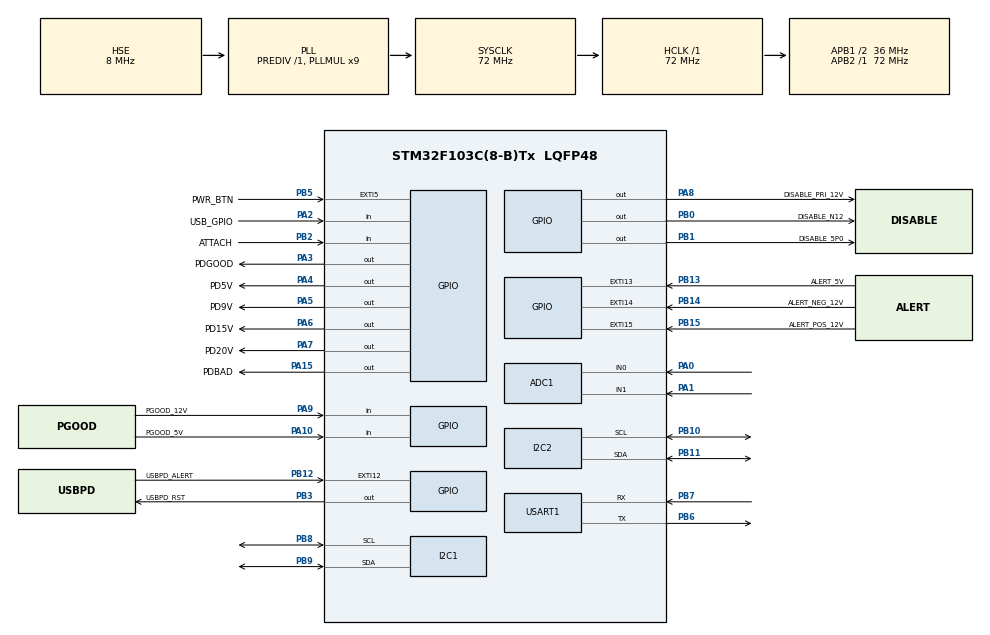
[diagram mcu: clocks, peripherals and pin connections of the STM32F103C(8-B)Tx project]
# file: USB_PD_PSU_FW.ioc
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ADC1.Channel-4\#ChannelRegularConversion=ADC_CHANNEL_0
ADC1.Channel-5\#ChannelRegularConversion=ADC_CHANNEL_1
ADC1.ContinuousConvMode=DISABLE
ADC1.DiscontinuousConvMode=DISABLE
ADC1.EnableInjectedConversion=DISABLE
ADC1.EnableRegularConversion=ENABLE
ADC1.ExternalTrigConv=ADC_SOFTWARE_START
ADC1.InjNumberOfConversion=2
ADC1.NbrOfConversion=2
ADC1.NbrOfConversionFlag=1
ADC1.Rank-4\#ChannelRegularConversion=1
ADC1.Rank-5\#ChannelRegularConversion=2
ADC1.SamplingTime-4\#ChannelRegularConversion=ADC_SAMPLETIME_1CYCLE_5
ADC1.SamplingTime-5\#ChannelRegularConversion=ADC_SAMPLETIME_1CYCLE_5
ADC1.master=1
Dma.ADC1.2.Direction=DMA_PERIPH_TO_MEMORY
Dma.ADC1.2.Instance=DMA1_Channel1
Dma.ADC1.2.MemDataAlignment=DMA_MDATAALIGN_WORD
Dma.ADC1.2.MemInc=DMA_MINC_ENABLE
Dma.ADC1.2.Mode=DMA_NORMAL
Dma.ADC1.2.PeriphDataAlignment=DMA_PDATAALIGN_WORD
Dma.ADC1.2.PeriphInc=DMA_PINC_DISABLE
Dma.ADC1.2.Priority=DMA_PRIORITY_LOW
Dma.Request0=USART1_RX
Dma.Request1=USART1_TX
Dma.Request2=ADC1
Dma.USART1_RX.0.Direction=DMA_PERIPH_TO_MEMORY
Dma.USART1_RX.0.Instance=DMA1_Channel5
Dma.USART1_RX.0.MemDataAlignment=DMA_MDATAALIGN_BYTE
Dma.USART1_RX.0.MemInc=DMA_MINC_ENABLE
Dma.USART1_RX.0.Mode=DMA_NORMAL
Dma.USART1_RX.0.PeriphDataAlignment=DMA_PDATAALIGN_BYTE
Dma.USART1_RX.0.PeriphInc=DMA_PINC_DISABLE
Dma.USART1_RX.0.Priority=DMA_PRIORITY_LOW
Dma.USART1_TX.1.Direction=DMA_MEMORY_TO_PERIPH
Dma.USART1_TX.1.Instance=DMA1_Channel4
Dma.USART1_TX.1.MemDataAlignment=DMA_MDATAALIGN_BYTE
Dma.USART1_TX.1.MemInc=DMA_MINC_ENABLE
Dma.USART1_TX.1.Mode=DMA_NORMAL
Dma.USART1_TX.1.PeriphDataAlignment=DMA_PDATAALIGN_BYTE
Dma.USART1_TX.1.PeriphInc=DMA_PINC_DISABLE
Dma.USART1_TX.1.Priority=DMA_PRIORITY_LOW
Mcu.Family=STM32F1
Mcu.Name=STM32F103C(8-B)Tx
Mcu.Package=LQFP48
NVIC.ADC1_2_IRQn=true\:0\:0\:false\:false\:true\:true\:true\:true
NVIC.DMA1_Channel1_IRQn=true\:0\:0\:false\:false\:true\:false\:true\:true
NVIC.DMA1_Channel4_IRQn=true\:0\:0\:false\:false\:true\:false\:true\:true
NVIC.DMA1_Channel5_IRQn=true\:0\:0\:false\:false\:true\:false\:true\:true
NVIC.EXTI15_10_IRQn=true\:0\:0\:false\:false\:true\:true\:true\:true
NVIC.PriorityGroup=NVIC_PRIORITYGROUP_4
NVIC.TIM1_BRK_IRQn=true\:0\:0\:false\:false\:true\:true\:true\:true
NVIC.TIM1_CC_IRQn=true\:0\:0\:false\:false\:true\:true\:true\:true
NVIC.TIM1_TRG_COM_IRQn=true\:0\:0\:false\:false\:true\:true\:true\:true
NVIC.TIM1_UP_IRQn=true\:0\:0\:false\:false\:true\:true\:true\:true
NVIC.TIM3_IRQn=true\:0\:0\:false\:false\:true\:true\:true\:true
NVIC.USART1_IRQn=true\:0\:0\:false\:false\:true\:true\:true\:true
PA0-WKUP.Signal=ADCx_IN0
PA1.Signal=ADCx_IN1
PA10.GPIO_Label=PGOOD_5V
PA10.GPIO_PuPd=GPIO_PULLUP
PA10.Signal=GPIO_Input
PA13.Mode=Serial_Wire
PA13.Signal=SYS_JTMS-SWDIO
PA14.Mode=Serial_Wire
PA14.Signal=SYS_JTCK-SWCLK
PA15.GPIO_Label=PDBAD
PA15.Signal=GPIO_Output
PA2.GPIO_Label=USB_GPIO
PA2.GPIO_PuPd=GPIO_PULLUP
PA2.Signal=GPIO_Input
PA3.GPIO_Label=PDGOOD
PA3.Signal=GPIO_Output
PA4.GPIO_Label=PD5V
PA4.Signal=GPIO_Output
PA5.GPIO_Label=PD9V
PA5.Signal=GPIO_Output
PA6.GPIO_Label=PD15V
PA6.Signal=GPIO_Output
PA7.GPIO_Label=PD20V
PA7.Signal=GPIO_Output
PA8.GPIO_Label=DISABLE_PRI_12V
PA8.Signal=GPIO_Output
PA9.GPIO_Label=PGOOD_12V
PA9.GPIO_PuPd=GPIO_PULLUP
PA9.Signal=GPIO_Input
PB0.GPIO_Label=DISABLE_N12
PB0.Signal=GPIO_Output
PB1.GPIO_Label=DISABLE_5P0
PB1.Signal=GPIO_Output
PB10.Mode=I2C
PB10.Signal=I2C2_SCL
PB11.Mode=I2C
PB11.Signal=I2C2_SDA
PB12.GPIO_Label=USBPD_ALERT
PB12.GPIO_ModeDefaultEXTI=GPIO_MODE_IT_FALLING
PB12.Signal=GPXTI12
PB13.GPIO_Label=ALERT_5V
PB13.GPIO_ModeDefaultEXTI=GPIO_MODE_IT_FALLING
PB13.Signal=GPXTI13
PB14.GPIO_Label=ALERT_NEG_12V
PB14.GPIO_ModeDefaultEXTI=GPIO_MODE_IT_FALLING
PB14.Signal=GPXTI14
PB15.GPIO_Label=ALERT_POS_12V
PB15.GPIO_ModeDefaultEXTI=GPIO_MODE_IT_FALLING
PB15.Signal=GPXTI15
PB2.GPIO_Label=ATTACH
PB2.Signal=GPIO_Input
PB3.GPIO_Label=USBPD_RST
PB3.Signal=GPIO_Output
PB5.GPIO_Label=PWR_BTN
PB5.GPIO_ModeDefaultEXTI=GPIO_MODE_EVT_FALLING
PB5.GPIO_PuPd=GPIO_PULLDOWN
PB5.Signal=GPXTI5
PB6.Mode=Asynchronous
PB6.Signal=USART1_TX
PB7.Mode=Asynchronous
PB7.Signal=USART1_RX
PB8.Mode=I2C
PB8.Signal=I2C1_SCL
PB9.Mode=I2C
PB9.Signal=I2C1_SDA
PD0-OSC_IN.Mode=HSE-External-Oscillator
PD0-OSC_IN.Signal=RCC_OSC_IN
PD1-OSC_OUT.Mode=HSE-External-Oscillator
PD1-OSC_OUT.Signal=RCC_OSC_OUT
ProjectManager.HeapSize=0x200
ProjectManager.StackSize=0x400
ProjectManager.TargetToolchain=Makefile
RCC.ADCPresc=RCC_ADCPCLK2_DIV6
RCC.AHBFreq_Value=72000000
RCC.APB1CLKDivider=RCC_HCLK_DIV2
RCC.APB1Freq_Value=36000000
RCC.APB1TimFreq_Value=72000000
RCC.APB2Freq_Value=72000000
RCC.APB2TimFreq_Value=72000000
RCC.HCLKFreq_Value=72000000
RCC.PLLMUL=RCC_PLL_MUL9
RCC.PLLSourceVirtual=RCC_PLLSOURCE_HSE
RCC.SYSCLKFreq_VALUE=72000000
RCC.SYSCLKSource=RCC_SYSCLKSOURCE_PLLCLK
RCC.USBFreq_Value=72000000
SH.ADCx_IN0.0=ADC1_IN0,IN0
SH.ADCx_IN1.0=ADC1_IN1,IN1
TIM1.Period=2304
TIM3.AutoReloadPreload=TIM_AUTORELOAD_PRELOAD_ENABLE
TIM3.Period=28800
TIM3.TIM_MasterOutputTrigger=TIM_TRGO_RESET
USART1.VirtualMode=VM_ASYNC
VP_TIM1_VS_ClockSourceINT.Mode=Internal
VP_TIM3_VS_ClockSourceINT.Mode=Internal
board=custom

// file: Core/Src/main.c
/* USER CODE BEGIN Header */
/**
  ******************************************************************************
  * @file           : main.c
  * @brief          : Main program body
  ******************************************************************************
  * @attention
  * Copyright (C) 2025  Repowered Electronics LLC
  *
  * This program is free software: you can redistribute it and/or modify
  * it under the terms of the GNU Lesser General Public License as published by
  * the Free Software Foundation, either version 3 of the License, or
  * (at your option) any later version.
  *
  * This program is distributed in the hope that it will be useful,
  * but WITHOUT ANY WARRANTY; without even the implied warranty of
  * MERCHANTABILITY or FITNESS FOR A PARTICULAR PURPOSE.  See the
  * GNU Lesser General Public License for more details.
  *
  * You should have received a copy of the GNU Lesser General Public License
  * along with this program.  If not, see <https://www.gnu.org/licenses/>.
  ******************************************************************************
  */
/* USER CODE END Header */
#include "main.h"
#include "adc.h"
#include "dma.h"
#include "i2c.h"
#include "tim.h"
#include "usart.h"
#include "gpio.h"

/* USER CODE BEGIN Includes */
#include <stdio.h>
#include <stdlib.h>
#include <string.h>
#include "printf.h"
#ifndef PRINTF
#define PRINTF
#endif
#include "USB_PD_core.h"
#include "ina236.h"
#include "u8g2/u8g2.h"
#include <math.h>
#include "ee.h"
#include "eeConfig.h"
/* USER CODE END Includes */

/* USER CODE BEGIN PD */
#define HICCUP_TIME_MS          1000
#define DEBUG_INTERVAL          10000
#define UART_RX_BUF_SIZE        128
#define UART_TX_BUF_SIZE        1024  // need more since we'll be printing PDO strings potentially
#define ENABLE_12V_TIMEOUT_US   1000000
#define INIT_STARTUP_DLY_MS     50
#define STUSB_INIT_DLY_MS       250
#define DUMB_CHG_IQ_MA          140   // current drawn from VBUS when it is ~5V
#define DUMB_CHG_CURR_LIM_MA    (3000 - DUMB_CHG_IQ_MA)  // max allowed to be drawn from VBUS when it's ~5V (used for Plim calc)
#define OVERLD_LED_WARN_OFF_MS  750
#define OVERLD_LED_WARN_ON_MS   250

#define OLED_UPDATE_PERIOD      1500
#define INA_UPDATE_PERIOD       100

#define CHG_TYPE_DUMB           0
#define CHG_TYPE_PD             1

#define OUTPUT_OFF              0
#define OUTPUT_ON               1

#define EFF_COEF_COUNT          2

#define IBB_IQ                  0.005

enum vbus_enum {
  VBUS_5V,
  VBUS_9V,
  VBUS_15V,
  VBUS_20V
};

enum debug_modes_enum {
  DEBUG_NORMAL = 0,
  DEBUG_DEVELOPER = 1,
  DEBUG_QUIET     = 2
};

enum debug_cmds_enum {
  CMD_NONE,
  CMD_READ_REGS,
  CMD_WRITE_REGS,
  CMD_PRINT_SRC_PDOS,
  CMD_COUNT
};

enum reg_map_enum {
  REG_DEBUG_MODE,
  REG_PLIM,           // float (W)
  REG_PLIM_GUARDBAND, // float (W)
  REG_PLIM_WARN,      // float (W)
  REG_ILIM_5V,        // float (A)
  REG_ILIM_N12V,      // float (A)
  REG_ILIM_12V,       // float (A)
  REG_NEGO_VBUS,      // float (V)
  REG_VBUS_ILIM,      // float (A)
  REG_VOLTS_5V,
  REG_VOLTS_N12V,
  REG_VOLTS_12V,
  REG_VOLTS_VBUS,
  REG_CURR_5V,
  REG_CURR_N12V,
  REG_CURR_12V,
  REG_CURR_VBUS,
  REG_POWER_VBUS,
  REG_BUCK_BST_5VIN_C0,
  REG_BUCK_BST_5VIN_C1,
  REG_BUCK_BST_9VIN_C0,
  REG_BUCK_BST_9VIN_C1,
  REG_BUCK_BST_15VIN_C0,
  REG_BUCK_BST_15VIN_C1,
  REG_BUCK_BST_20VIN_C0,
  REG_BUCK_BST_20VIN_C1,
  REG_5V_CONV_C0,
  REG_5V_CONV_C1,
  REG_IBB_5VIN_C0,
  REG_IBB_5VIN_C1,
  REG_IBB_9VIN_C0,
  REG_IBB_9VIN_C1,
  REG_IBB_15VIN_C0,
  REG_IBB_15VIN_C1,
  REG_IBB_20VIN_C0,
  REG_IBB_20VIN_C1,
  REG_DISP_PRESENT,
  REG_COUNT
};

enum rail_ids_enum {
  RAIL_NONE,
  RAIL_P12V,
  RAIL_N12V,
  RAIL_5V
};

#define UART_STATE_RX_HDDR        0
#define UART_STATE_RX_BODY        1
#define UART_STATE_TX_PACKET      2

#define UART_HDDR_SIZE            4
typedef uint32_t* regmap_t;
#define REG_MAP_DATA_SIZE         (4)
#define REG_MAP_ENTRY_SIZE        (sizeof(regmap_t))       /* size of a single register */

#define SAVE_COEFS_TO_FLASH_MASK  0x000000003FFC0000

#define LOOP_DELAY                25      /* sleep inserted in main loop */
#define OVLD_DUR_BEFORE_HICCUP    200     /* millisecs of time spent in ovld before we should hiccup everything */

/* USER CODE END PD */

/* USER CODE BEGIN PM */
#define ENABLE_PRIMARY_12V() HAL_GPIO_WritePin(DISABLE_PRI_12V_GPIO_Port, DISABLE_PRI_12V_Pin, 0)
#define DISABLE_PRIMARY_12V() HAL_GPIO_WritePin(DISABLE_PRI_12V_GPIO_Port, DISABLE_PRI_12V_Pin, 1)
#define PRI_12V_STATE() (((DISABLE_PRI_12V_GPIO_Port->ODR & DISABLE_PRI_12V_Pin)) ^ DISABLE_PRI_12V_Pin)
#define ENABLE_PDGOOD_LED() HAL_GPIO_WritePin(PDGOOD_GPIO_Port, PDGOOD_Pin, 1)
#define DISABLE_PDGOOD_LED() HAL_GPIO_WritePin(PDGOOD_GPIO_Port, PDGOOD_Pin, 0)
#define ENABLE_OVRLD_LED() HAL_GPIO_WritePin(PDBAD_GPIO_Port, PDBAD_Pin, 1)
#define DISABLE_OVRLD_LED() HAL_GPIO_WritePin(PDBAD_GPIO_Port, PDBAD_Pin, 0)
#define OVRLD_LED_STATE() ((PDBAD_GPIO_Port->ODR & PDBAD_Pin))
#define DISABLE_5PO_SUPPLY() HAL_GPIO_WritePin(DISABLE_5P0_GPIO_Port, DISABLE_5P0_Pin, 1)
#define ENABLE_5P0_SUPPLY() HAL_GPIO_WritePin(DISABLE_5P0_GPIO_Port, DISABLE_5P0_Pin, 0)
#define ENABLE_N12_SUPPLY() HAL_GPIO_WritePin(DISABLE_N12_GPIO_Port, DISABLE_N12_Pin, 0)
#define DISABLE_N12_SUPPLY() HAL_GPIO_WritePin(DISABLE_N12_GPIO_Port, DISABLE_N12_Pin, 1)
#define WITHIN_RANGE(x, target, range)  (x >= (target - range) && x < (target + range))
/* USER CODE END PM */

/* USER CODE BEGIN PV */
INA236_t ina_5V;
INA236_t ina_pos_12V;
INA236_t ina_neg_12V;
float volts_p12v = 12.0;
float volts_5v = 5.0;
volatile float volts_n12v = 0.0;
float amps_out_p12v = 0.0;
float amps_out_5v = 0.0;
float amps_in_n12v = 0.0;
float amps_out_n12v = 0.0;
float pwr_out_p12V = 0.0;
float pwr_in_n12V = 0.0;
float pwr_out_5V = 0.0;
float pwr_out_n12V = 0.0;
float tot_idraw_p12v = 0.0;
float ILIM_12V_dyn = 0.0;
float tot_pwr_out = 0.0;

I2C_HandleTypeDef *hi2c[I2CBUS_MAX];
unsigned int Address;
unsigned int AddressSize = I2C_MEMADD_SIZE_8BIT;
USB_PD_I2C_PORT STUSB45DeviceConf[USBPORT_MAX];
uint32_t timer_cnt = 0;
int Flag_count = 0;
int PB_press=0;
int Time_elapse=1;
float Plim = 0.0;              // Power limit from find max pdo in WATTS not mW
float Plim_guardband = 0.100;  // MARGIN FOR TRIPPING OVERDRAW IN WATTS not mW
float Plim_warn = 0.250;       // Margin for triggering warning of impending overdraw in WATTS not mW
uint32_t overld_led_ts = 0;
int Hiccup_5v_flag = 0;       // Setting flag for 5v rail
int Hiccup_n12v_flag = 0;     // Setting flag for n12v rail
int Hiccup_p12v_flag = 0;     // Setting flag for p12v rail
int ina_alerts_enabled = 0;   // will be used to gate servicing of alert pin interrupts
uint32_t hiccup_5v_ts = 0;
uint32_t hiccup_p12v_ts = 0;
uint32_t hiccup_n12v_ts = 0;
int ovld_count = 0;           // how many main loop iterations have we been in overload for
float ILIM_5V = 3.0;          // max rail current for 5V rail in Amperes
float ILIM_N12V = 4.0;        // max rail current for -12V rail in Amperes
float ILIM_12V = 8.0;         // max rail current for 12V *converter* in Amperes
uint32_t debug_stamp = 0;
uint32_t update_oled_stamp = 0;
uint32_t ina_update_stamp = 0;

float nego_vbus = 0.0;    // only used in developer mode and only if non-zero
float vbus_ilim = 0;    // again, only used in developer mode and only if non-zero

regmap_t regmap[REG_COUNT];
bool writeable[REG_COUNT];
uint64_t reg_change_flags = 0;
int rx_size = 0;
uint8_t uart_state = UART_STATE_RX_HDDR;
uint8_t rx_buf[UART_RX_BUF_SIZE];
uint8_t tx_buf[UART_TX_BUF_SIZE];
bool process_uart_buf = false;
uint32_t debug_mode = DEBUG_NORMAL;
uint8_t print_src_pdos_cmd[] = "PRINT_SRC_PDOS";
float req_voltage = 5.0;
float req_current = 1.5;
int req_number = 0;

uint8_t USB_PD_Interupt_Flag[USBPORT_MAX] ;
uint8_t USB_PD_Interupt_PostponedFlag[USBPORT_MAX] ;
uint8_t push_button_Action_Flag[USBPORT_MAX];
uint8_t Timer_Action_Flag[USBPORT_MAX];
uint8_t connection_flag[USBPORT_MAX]={1};
uint8_t HR_rcv_flag[USBPORT_MAX] = {0};
uint32_t VBUS_Current_limitation[USBPORT_MAX] = {5},Previous_VBUS_Current_limitation[USBPORT_MAX] ;

/* PDO Variables */
extern USB_PD_StatusTypeDef PD_status[USBPORT_MAX] ;
extern USB_PD_SNK_PDO_TypeDef PDO_SNK[USBPORT_MAX][3];
extern USB_PD_SRC_PDOTypeDef PDO_FROM_SRC[USBPORT_MAX][7];
extern STUSB_GEN1S_RDO_REG_STATUS_RegTypeDef Nego_RDO[USBPORT_MAX];
extern uint8_t PDO_FROM_SRC_Valid[USBPORT_MAX];
extern uint8_t PDO_FROM_SRC_Num_Sel[USBPORT_MAX];
extern uint8_t PDO_FROM_SRC_Num[USBPORT_MAX];
extern uint8_t Policy_Engine_State[USBPORT_MAX];
extern uint8_t Go_disable_once[USBPORT_MAX];
extern uint8_t Final_Nego_done[USBPORT_MAX] ;
extern uint8_t Core_Process_suspended ;

/* OLED THINGS */
u8g2_t oled; // struct to contain data for one display
uint32_t disp_present = 1; // default to being present

/* ADC things */
volatile float vbus_meas = 0.0;
float amps_in_vbus = 0.0;
float pwr_vbus = 0;
uint32_t adc_samples[2];
volatile int adc_sample_count = 0;
uint32_t adc_sample_sums[2];
volatile bool adc_conv_cplt = false;
volatile uint32_t micros_count = 0;
volatile uint32_t micros_count_by_32 = 0;
volatile uint8_t chg_type   = CHG_TYPE_DUMB;
volatile uint8_t output_state = OUTPUT_OFF;

/* efficiency things */
int vbus_range = VBUS_5V;                                                       /* default to 5V, will change ASAP */
float eff_coefs_buck_boost_5vin[EFF_COEF_COUNT] = {0.712, 1.057}; // {649250, 1.05682};
float eff_coefs_buck_boost_9vin[EFF_COEF_COUNT] = {0.655, 1.038}; //{0.62943, 1.03610};
float eff_coefs_buck_boost_15vin[EFF_COEF_COUNT] = {0.982, 1.035}; //{0.6272, 1.03408};
float eff_coefs_buck_boost_20vin[EFF_COEF_COUNT] = {0.671, 1.047}; //{0.7675, 1.05402};
float eff_coefs_5v_conv[EFF_COEF_COUNT] = {0.0, 1.0}; // {0.0, 1.0};
float eff_coefs_ibb_5vin[EFF_COEF_COUNT] = {-0.025, 0.883}; // {0.0, 1.0};
float eff_coefs_ibb_9vin[EFF_COEF_COUNT] = {-0.157, 0.887}; // {0.0, 1.0};
float eff_coefs_ibb_15vin[EFF_COEF_COUNT] = {-0.270, 0.886}; // {0.0, 1.0};
float eff_coefs_ibb_20vin[EFF_COEF_COUNT] = {-0.369, 0.880}; // {0.0, 1.0};

/* USER CODE END PV */

void SystemClock_Config(void);
/* USER CODE BEGIN PFP */

void _putchar(char character);
extern void nvm_flash(uint8_t Usb_Port);
uint8_t u8x8_byte_hw_i2c(u8x8_t *u8x8, uint8_t msg, uint8_t arg_int, void *arg_ptr);
uint8_t gpio_and_delay_callback(u8x8_t *u8x8, uint8_t msg, uint8_t arg_int, void *arg_ptr);
void disable_ina_ints();
void enable_ina_ints();
void restart_UART_rx();
bool char_in_buffer(uint8_t* buffer, char c, int size);
void strstrip(char* str, char* loc);
void init_regmap(void);
void read_eff_coefs_from_flash(void);
void save_eff_coefs_to_flash(void);
void process_dev_packet();
void check_on_pdo_voltage(int usb_port);
void update_vbus_leds(float vbus);
void delay_us(uint32_t delay);
void set_output_state(uint8_t on_or_off);
uint32_t micros();
float compute_polynom(float* coefs, int coef_count, float x);
void enter_sleep_mode(void);
void hiccup_rail(int rail_id);

/* USER CODE END PFP */

int main(void)
{

  /* USER CODE BEGIN 1 */
  int usb_port_id = 0;
  /* USER CODE END 1 */

  /* MCU Configuration--------------------------------------------------------*/

  /* Reset of all peripherals, Initializes the Flash interface and the Systick. */
  HAL_Init();

  /* Configure the system clock */
  SystemClock_Config();

  /* Initialize all configured peripherals */
  MX_GPIO_Init();
  MX_DMA_Init();
  MX_I2C1_Init();
  MX_I2C2_Init();
  MX_USART1_UART_Init();
  MX_ADC1_Init();
  MX_TIM3_Init();
  MX_TIM1_Init();
  /* USER CODE BEGIN 2 */

  /* Start microsecond timer */
  HAL_TIM_Base_Start_IT(&htim1);

  /* ENSURE EXTERNAL SUPPLIES START IN OFF STATE */
  output_state = OUTPUT_OFF;
  set_output_state(output_state);

  DISABLE_OVRLD_LED();
  DISABLE_PDGOOD_LED();
  disable_ina_ints(); // start by not acting on interrupts from the INAs

  HAL_Delay(INIT_STARTUP_DLY_MS);

  /* SETUP USB PD STUFF */
  hi2c[0] = &hi2c1;
  STUSB45DeviceConf[usb_port_id].I2cBus = usb_port_id;
  STUSB45DeviceConf[usb_port_id].I2cDeviceID_7bit = 0x28;
  STUSB45DeviceConf[usb_port_id].Alert_GPIO_Bank = (uint8_t)((int)USBPD_ALERT_GPIO_Port & 0xFF);
  STUSB45DeviceConf[usb_port_id].Alert_GPIO_Pin = USBPD_ALERT_Pin;
  AddressSize = I2C_MEMADD_SIZE_8BIT;
  USB_PD_Interupt_PostponedFlag[0] = 0; /* this flag is 1 if I2C is busy when Alert signal raise */
  USB_PD_Interupt_Flag[usb_port_id] = 1;
  Final_Nego_done[usb_port_id] = 0;
  Go_disable_once[usb_port_id] = 0;

  memset((uint32_t *)PDO_FROM_SRC[usb_port_id], 0, 7*sizeof(uint32_t*));
  memset((uint32_t *)PDO_SNK[usb_port_id], 0, 3*sizeof(uint32_t*));

  usb_pd_init(usb_port_id);   // after this USBPD alert line must be high

  HAL_Delay(100); /* delay needed for correct assertion of ATTACH */

  /* ASSESS: USB-PD CHARGER OR DUMB-CHARGER */
  if(!HAL_GPIO_ReadPin(ATTACH_GPIO_Port, ATTACH_Pin)){
    // a CC line is attached, negotiate PD
    chg_type = CHG_TYPE_PD;
    Send_Soft_reset_Message(usb_port_id); //

    HAL_Delay(STUSB_INIT_DLY_MS); // allow STUSB4500 to Initialize

    Print_PDO_FROM_SRC(usb_port_id);

    int Plim_mW = Find_Max_SRC_PDO(usb_port_id); // Returns negotiated power level in mW
    printf("the power limit is %dmW \r\n", Plim_mW);
    Plim = Plim_mW / 1000.0;

    Send_Soft_reset_Message(usb_port_id); //

    HAL_Delay(500); // give time for negotiation to occur and rail to stabilize

    Read_RDO(usb_port_id);

    Print_RDO(usb_port_id);

    // we can't move this elsewhere because we need to give time for the new
    // negotiated voltage to come up and stabilize.
    nego_vbus = (float)PDO_FROM_SRC[usb_port_id][Nego_RDO[usb_port_id].b.Object_Pos - 1].fix.Voltage/20.0;
    vbus_ilim = (float)PDO_FROM_SRC[usb_port_id][Nego_RDO[usb_port_id].b.Object_Pos - 1].fix.Max_Operating_Current/100.0;
    /* vbus LEDs get updated in the main loop if power btn is asserted */

    connection_flag[usb_port_id] = 1;
    Previous_VBUS_Current_limitation[usb_port_id] = VBUS_Current_limitation[usb_port_id];
  }else{
    // Dumb charger
    printf("Dumb charger detected...\r\n");
    chg_type = CHG_TYPE_DUMB;
    Plim = 5.0 * DUMB_CHG_CURR_LIM_MA;
    /* vbus LEDs get updated in the main loop if power btn is asserted */
  }

  /**** BEGIN SETUP INA236's ****/
  ina_5V.hi2c = &hi2c1;

  ina236_general_call_reset(&ina_5V); // will reset all INA236's on the bus
  HAL_Delay(30);

  // Initialzing 5v ina236 struct
  ina_5V.addr = 0x41;
  ina_5V.shunt = 0.01;
  ina_5V.int_pin = ALERT_5V_Pin;
  ina236_init(&ina_5V);

  // Initialzing p12v ina236 struct
  ina_pos_12V.hi2c = &hi2c1;
  ina_pos_12V.addr = 0x40;
  ina_pos_12V.shunt = 0.01;
  ina_pos_12V.int_pin = ALERT_POS_12V_Pin;
  ina236_init(&ina_pos_12V);

  // Initialzing n12v ina236 struct
  ina_neg_12V.hi2c = &hi2c1;
  ina_neg_12V.addr = 0x43;
  ina_neg_12V.shunt = 0.01;
  ina_neg_12V.int_pin = ALERT_NEG_12V_Pin;
  ina236_init(&ina_neg_12V);

  // Setting full scale range
  ina236_set_shunt_range(&ina_pos_12V, 0);
  ina236_set_shunt_range(&ina_5V, 0);
  ina236_set_shunt_range(&ina_neg_12V, 0);
  HAL_Delay(5);

  // Setting shunt cal register for each rail
  ina236_set_shuntcal(&ina_pos_12V);
  ina236_set_shuntcal(&ina_5V);
  ina236_set_shuntcal(&ina_neg_12V);
  HAL_Delay(5);

  // Setting current limits
  ina236_set_current_limit(&ina_5V, ILIM_5V);                                 // Setting constant current limit for 5V rail based on capability of converter
  ina236_set_current_limit(&ina_neg_12V, ILIM_N12V);                          // Setting constant current limit for n12V rail based on capability of converter
  ina236_set_current_limit(&ina_pos_12V, ILIM_12V);                           // Setting initial current limit for p12V rail assuming no draw from derivative rails
  HAL_Delay(5);

  // Enabling SOL Alert
  ina236_set_alertSOL(&ina_pos_12V);
  ina236_set_alertSOL(&ina_5V);
  ina236_set_alertSOL(&ina_neg_12V);
  HAL_Delay(5);

  enable_ina_ints();
  /**** END SETUP INA236's ****/

  /**** BEGIN SETUP OLED *****/
  u8g2_Setup_ssd1306_i2c_128x32_univision_f(&oled, U8G2_R2, u8x8_byte_hw_i2c, gpio_and_delay_callback);
  u8g2_InitDisplay(&oled); // send init sequence to the display, display is in sleep mode after this,
  u8g2_SetPowerSave(&oled, 0); // wake up display
  u8g2_ClearDisplay(&oled);
  u8g2_SetFont(&oled, u8g2_font_6x13_tf);
  u8g2_SetFontDirection(&oled, 1);
  /**** END SETUP OLED *****/

  HAL_UART_Receive_DMA(&huart1, rx_buf, UART_HDDR_SIZE);

  HAL_ADC_Stop(&hadc1); // ensure ADC is STOPPED
  HAL_ADCEx_Calibration_Start(&hadc1);
  HAL_Delay(25);

  HAL_ADC_Start_DMA(&hadc1, adc_samples, 2); //Trigger ADC DMA once, future triggers will be from the timer
  HAL_Delay(1);
  HAL_TIM_Base_Start_IT(&htim3); // start timer for actually triggering ADC conversions (2.5kHz)

  // ee_init();
  // read_eff_coefs_from_flash();
  init_regmap();

  /* USER CODE END 2 */

  /* Infinite loop */
  while (1)
  {

    /* USER CODE BEGIN 3 */

    /* ----- Check on power switch ----- */
    int pwr_btn_state = HAL_GPIO_ReadPin(PWR_BTN_GPIO_Port, PWR_BTN_Pin);
    if (pwr_btn_state == 0 && output_state == OUTPUT_OFF) {
      /* transition to ON STATE */
      // ENABLE_PDGOOD_LED();
      output_state = OUTPUT_ON;
      set_output_state(output_state);
      u8g2_SetPowerSave(&oled, 0); // wake up display
      update_vbus_leds(vbus_meas);
    } else if (pwr_btn_state == 1 && output_state == OUTPUT_ON) {
      /* transition to OFF state*/
      output_state = OUTPUT_OFF;
      set_output_state(output_state);
      u8g2_SetPowerSave(&oled, 1); // shut down OLED display
      DISABLE_PDGOOD_LED();
      update_vbus_leds(0.0);
      /* go into sleep mode, will be woken from sleep on falling edge of PWR_BTN signal */
      enter_sleep_mode();
    }

    if (output_state == OUTPUT_OFF) {
      HAL_Delay(10);
      continue; /* skip over the rest of the main loop */
    }

    /* UPDATE INA236's -------------------------------------------------------*/
    if (HAL_GetTick() - ina_update_stamp > INA_UPDATE_PERIOD) {
      ina_update_stamp = HAL_GetTick();

      // Reading bus Voltage from INA236
      volts_p12v    = ina236_get_voltage(&ina_pos_12V);
      volts_5v      = ina236_get_voltage(&ina_5V);
      /* volts_n12v = -12V rail measurement: handled by TIM period callback */

      // Reading current from INA236
      amps_out_p12v = ina236_get_current(&ina_pos_12V);
      amps_out_5v   = ina236_get_current(&ina_5V);
      amps_in_n12v  = ina236_get_current(&ina_neg_12V);

      // Reading power from INA236
      pwr_out_p12V = ina236_get_power(&ina_pos_12V);                 // Returns +12V bus power in mW
      pwr_in_n12V = ina236_get_power(&ina_neg_12V);                  // Returns -12V bus power in mW
      pwr_out_5V = ina236_get_power(&ina_5V);                        // Returns +5V bus power in mW

      /* reflect 5V output power back to input */
      float pwr_in_5v = compute_polynom(eff_coefs_5v_conv, EFF_COEF_COUNT, pwr_out_5V);

      float* buck_boost_coefs;
      float* ibb_coefs;
      switch (vbus_range){
        default:
        case VBUS_5V:
          buck_boost_coefs = eff_coefs_buck_boost_5vin;
          ibb_coefs = eff_coefs_ibb_5vin;
          break;
        case VBUS_9V:
          buck_boost_coefs = eff_coefs_buck_boost_9vin;
          ibb_coefs = eff_coefs_ibb_9vin;
          break;
        case VBUS_15V:
          buck_boost_coefs = eff_coefs_buck_boost_15vin;
          ibb_coefs = eff_coefs_ibb_15vin;
          break;
        case VBUS_20V:
          buck_boost_coefs = eff_coefs_buck_boost_20vin;
          ibb_coefs = eff_coefs_ibb_20vin;
          break;
      };

      /* estimate output power of -12V IBB */
      if (pwr_in_n12V > vbus_meas * IBB_IQ) {                         // if pwr in is greater than approx quiescent power
        pwr_out_n12V = compute_polynom(ibb_coefs, EFF_COEF_COUNT, pwr_in_n12V);
      } else {
        pwr_out_n12V = 0.0;
      }
      amps_out_n12v = pwr_out_n12V / volts_n12v;                       // this is what should be reported to the user

      /* reflect 12V power out back to VBUS (source) */
      float pwr_p12v_total = (pwr_in_5v + pwr_out_p12V);               // total power drawn out of the 12V buck-boost
      pwr_vbus = compute_polynom(buck_boost_coefs, EFF_COEF_COUNT, pwr_p12v_total) + pwr_in_n12V;
      amps_in_vbus = pwr_vbus / vbus_meas;

      float amps_5v_in = pwr_in_5v/volts_5v;
      tot_idraw_p12v = amps_5v_in + amps_out_p12v;                     // Total draw on the +12V rail
      ILIM_12V_dyn = (ILIM_12V - amps_5v_in);                          // Updating p12v current limit based on 5v and n12v rail draw

      if (debug_mode == DEBUG_DEVELOPER) {
        ILIM_12V_dyn = 12.0; // override the limit for testing - make this unreasonably large
      }
      ina236_set_current_limit(&ina_pos_12V, ILIM_12V_dyn);                       // Setting INA236 current limit with dynamic limit based on derivative rail draw
    }

    /* Debug if it's time ----------------------------------------------------*/
    if (HAL_GetTick() - debug_stamp > DEBUG_INTERVAL){
      debug_stamp = HAL_GetTick();
      printf("VBUS    : %.3fV \r\n", vbus_meas);
      printf("5V Bus  : %.3fV, %.4fA, %.4fmW \r\n", volts_5v, amps_out_5v, pwr_out_5V*1000.0);
      printf("+12V Bus: %.3fV, %.4fA, %.4fmW \r\n", volts_p12v, amps_out_p12v, pwr_out_p12V*1000.0);
      printf("-12V Bus: %.3fV, %.4fA, %.4fmW \r\n\r\n", volts_n12v, amps_out_n12v, pwr_out_n12V*1000.0);
      printf("Total Current from +12V Rail: %.4fA \r\n\r\n", tot_idraw_p12v);
      printf("The Updated +12V Current Limit is %.4fA \r\n\r\n", ILIM_12V_dyn);
    }else if (HAL_GetTick() < debug_stamp){
      // tick counter has wrapped around
      debug_stamp = 0;
    }

    // Hiccup control Restart

    if(Hiccup_5v_flag == 1 && HAL_GetTick() - hiccup_5v_ts > HICCUP_TIME_MS)
    {
      ENABLE_5P0_SUPPLY();
      Hiccup_5v_flag = 0;
      DISABLE_OVRLD_LED();
      ENABLE_PDGOOD_LED();
    }

    if (Hiccup_n12v_flag == 1 && HAL_GetTick() - hiccup_n12v_ts > HICCUP_TIME_MS)
    {
      ENABLE_N12_SUPPLY();
      Hiccup_n12v_flag = 0;
      DISABLE_OVRLD_LED();
      ENABLE_PDGOOD_LED();
    }

    if (Hiccup_p12v_flag == 1 && HAL_GetTick() - hiccup_p12v_ts > HICCUP_TIME_MS)
    {
      ENABLE_PRIMARY_12V();
      Hiccup_p12v_flag = 0;
      DISABLE_OVRLD_LED();
      ENABLE_PDGOOD_LED();
    }

    // Conditional Statement for Lighting overload LED based on total power draw
    if(pwr_vbus >= (Plim + Plim_guardband))
    {
      ovld_count += LOOP_DELAY;
      if (ovld_count >= OVLD_DUR_BEFORE_HICCUP) {
        ovld_count = 0;
        DISABLE_PDGOOD_LED();
        ENABLE_OVRLD_LED();
        hiccup_rail(RAIL_P12V);
        hiccup_rail(RAIL_N12V);
        hiccup_rail(RAIL_5V);
        printf("Total power draw (%.2f W) exceeded limit (%.2f W)", pwr_vbus, Plim);
      }
    }
    else if (pwr_vbus >= (Plim - Plim_warn))
    {
      /* total power drawn from Vbus is getting close to overload. */
      /* Flash PDBAD (OVERLOAD) LED */
      if (OVRLD_LED_STATE() == 0 && HAL_GetTick() - overld_led_ts > OVERLD_LED_WARN_OFF_MS){
        // LED is currently OFF, and it's been off long enough
        ENABLE_OVRLD_LED();
        overld_led_ts = HAL_GetTick();
      }else if(OVRLD_LED_STATE() == 1 && HAL_GetTick() - overld_led_ts > OVERLD_LED_WARN_ON_MS){
        // LED is ON now, and it's been on long enough
        DISABLE_OVRLD_LED();
        overld_led_ts = HAL_GetTick();
      }
      ovld_count = 0;
    }
    else
    {
      DISABLE_OVRLD_LED();
      ENABLE_PDGOOD_LED();
      ovld_count = 0;
    }

    /* BEGIN DISPLAY THINGS --------------------------------------------------*/
    if (HAL_GetTick() - update_oled_stamp > OLED_UPDATE_PERIOD) {
      update_oled_stamp = HAL_GetTick();

      u8g2_ClearBuffer(&oled);

      char buffer[10];

      //Line to Separate regulators
      u8g2_DrawLine(&oled, 90, 0, 90, 32);

      //Report +12V Stats
      int p12VTopLine = 115;
      u8g2_DrawStr(&oled, p12VTopLine, 0, "+12V");
      snprintf(buffer, 10, "%.1fV", volts_p12v);
      u8g2_DrawStr(&oled, p12VTopLine - 10, 0, buffer);

      if(amps_out_p12v > 0.1) {
        snprintf(buffer, 10, "%.2fA", amps_out_p12v);
      }
      else {
        snprintf(buffer, 10, "%dmA", (int)(1000*amps_out_p12v));
      }
      u8g2_DrawStr(&oled, p12VTopLine - 20, 0, buffer);

      //Report -12V Stats
      int n12VTopLine = 75;
      u8g2_DrawStr(&oled, n12VTopLine, 0, "-12V");
      snprintf(buffer, 10, "%.1fV", volts_n12v);
      u8g2_DrawStr(&oled, n12VTopLine - 10, 0, buffer);

      if (amps_out_n12v > 0.1){
        sprintf(buffer, "%.2fA", amps_out_n12v);
      }
      else {
        sprintf(buffer, "%dmA", (int)(1000*amps_out_n12v));
      }
      u8g2_DrawStr(&oled, n12VTopLine - 20, 0, buffer);

      //Line to Separate regulators
      u8g2_DrawLine(&oled, 50, 0, 50, 32);

      //Report +5V Stas
      int p5VTopLine = 35;
      u8g2_DrawStr(&oled, p5VTopLine, 0, "+5V");
      sprintf(buffer, "%.2fV", volts_5v);
      u8g2_DrawStr(&oled, p5VTopLine - 10, 0, buffer);
      if(amps_out_5v > 0.1) {
        sprintf(buffer, "%.2fA", amps_out_5v);
      }
      else {
        sprintf(buffer, "%dmA", (int)(1000*amps_out_5v));
      }
      u8g2_DrawStr(&oled, p5VTopLine - 20, 0, buffer);

      if (Hiccup_p12v_flag || Hiccup_5v_flag || Hiccup_n12v_flag){
        u8g2_DrawStr(&oled, 0, 0, "OVLD!!");
      }
      else {
        float nego_voltage = (float ) PDO_FROM_SRC[usb_port_id][Nego_RDO[usb_port_id].b.Object_Pos - 1].fix.Voltage/20.0;
        sprintf(buffer, "%.1fV", nego_voltage);
        u8g2_DrawStr(&oled, 0, 0, buffer);
      }

      u8g2_SendBuffer(&oled);
    }
    /* END DISPLAY THINGS --------------------------------------------------*/

    // UART DEBUGGING THINGS
    if (uart_state == UART_STATE_TX_PACKET) {
      uint8_t cmd = rx_buf[0];
      // uint8_t aux_value = rx_buf[1];
      uint16_t body_len = rx_buf[2] | (rx_buf[3] << 8);
      uint8_t* rx_body = rx_buf + UART_HDDR_SIZE;
      uint8_t* tx_body = tx_buf + UART_HDDR_SIZE;
      bool tx_body_rdy = false;
      int tx_body_ind = 0;
      switch (cmd) {
        default:
        case CMD_NONE:
          break;
        case CMD_READ_REGS: {
          for (int i = 0; i < body_len; i++) {
            int regind = rx_body[i];
            if (regind >= REG_COUNT) {
              continue;
            }
            tx_body[tx_body_ind++] = regind;
            memcpy(tx_body + tx_body_ind, (uint8_t*)(regmap[regind]), REG_MAP_DATA_SIZE);
            tx_body_ind += REG_MAP_DATA_SIZE;
          }
          tx_body_rdy = true;
          break;
        }
        case CMD_WRITE_REGS: {
          for (int i = 0; i < body_len; i += (1 + REG_MAP_DATA_SIZE)) {
            int regind = rx_body[i];
            if (writeable[regind]) {
              regmap_t ptr = regmap[regind];
              reg_change_flags |= (1 << regind);
              memcpy((uint8_t*)ptr, rx_body + (i + 1), REG_MAP_DATA_SIZE);
              tx_body[tx_body_ind++] = regind;
            }
          }
          tx_body_rdy = true;
          break;
        }
        case CMD_PRINT_SRC_PDOS: {
          /* special case that breaks the rules */
          debug_mode = DEBUG_NORMAL;
          Print_PDO_FROM_SRC(0); // usb port ID is always going to be 0 for our design
          debug_mode = DEBUG_DEVELOPER;
          break;
        }
      }
      if (tx_body_rdy) {
        tx_buf[0] = cmd;
        tx_buf[1] = 0; // TODO something later maybe with this
        tx_buf[2] = tx_body_ind & 0xFF;
        tx_buf[3] = (tx_body_ind >> 8) & 0xFF;
        HAL_UART_Transmit_DMA(&huart1, tx_buf, tx_body_ind + UART_HDDR_SIZE);
      }
      uart_state = UART_STATE_RX_HDDR;
      restart_UART_rx();
    }

    /* Check on special actions needed */
    if (reg_change_flags != 0) {
      if (reg_change_flags & SAVE_COEFS_TO_FLASH_MASK) {
        save_eff_coefs_to_flash();
      }
    }

    HAL_Delay(LOOP_DELAY);

  }
  /* USER CODE END 3 */
}

void SystemClock_Config(void)
{
  RCC_OscInitTypeDef RCC_OscInitStruct = {0};
  RCC_ClkInitTypeDef RCC_ClkInitStruct = {0};
  RCC_PeriphCLKInitTypeDef PeriphClkInit = {0};

  /** Initializes the RCC Oscillators according to the specified parameters
  * in the RCC_OscInitTypeDef structure.
  */
  RCC_OscInitStruct.OscillatorType = RCC_OSCILLATORTYPE_HSE;
  RCC_OscInitStruct.HSEState = RCC_HSE_ON;
  RCC_OscInitStruct.HSEPredivValue = RCC_HSE_PREDIV_DIV1;
  RCC_OscInitStruct.HSIState = RCC_HSI_ON;
  RCC_OscInitStruct.PLL.PLLState = RCC_PLL_ON;
  RCC_OscInitStruct.PLL.PLLSource = RCC_PLLSOURCE_HSE;
  RCC_OscInitStruct.PLL.PLLMUL = RCC_PLL_MUL9;
  if (HAL_RCC_OscConfig(&RCC_OscInitStruct) != HAL_OK)
  {
    Error_Handler();
  }

  /** Initializes the CPU, AHB and APB buses clocks
  */
  RCC_ClkInitStruct.ClockType = RCC_CLOCKTYPE_HCLK|RCC_CLOCKTYPE_SYSCLK
                              |RCC_CLOCKTYPE_PCLK1|RCC_CLOCKTYPE_PCLK2;
  RCC_ClkInitStruct.SYSCLKSource = RCC_SYSCLKSOURCE_PLLCLK;
  RCC_ClkInitStruct.AHBCLKDivider = RCC_SYSCLK_DIV1;
  RCC_ClkInitStruct.APB1CLKDivider = RCC_HCLK_DIV2;
  RCC_ClkInitStruct.APB2CLKDivider = RCC_HCLK_DIV1;

  if (HAL_RCC_ClockConfig(&RCC_ClkInitStruct, FLASH_LATENCY_2) != HAL_OK)
  {
    Error_Handler();
  }
  PeriphClkInit.PeriphClockSelection = RCC_PERIPHCLK_ADC;
  PeriphClkInit.AdcClockSelection = RCC_ADCPCLK2_DIV6;
  if (HAL_RCCEx_PeriphCLKConfig(&PeriphClkInit) != HAL_OK)
  {
    Error_Handler();
  }
}

/* USER CODE BEGIN 4 */
void HAL_TIM_PeriodElapsedCallback(TIM_HandleTypeDef *htim){
  if (htim->Instance == TIM3){
    adc_sample_sums[0] += adc_samples[0];
    adc_sample_sums[1] += adc_samples[1];
    adc_sample_count++;
    if (adc_sample_count >= 10){
      volts_n12v = (-5.0*3.3*(adc_sample_sums[0]/adc_sample_count))/4095.0;
      vbus_meas = (11.0*3.3*(adc_sample_sums[1]/adc_sample_count))/4095.0;

      if (vbus_meas < 7.0) {
        vbus_range = VBUS_5V;
      } else if (vbus_meas < 12.0) {
        vbus_range = VBUS_9V;
      } else if (vbus_meas < 17.5) {
        vbus_range = VBUS_15V;
      } else {
        vbus_range = VBUS_20V;
      }

      if (chg_type == CHG_TYPE_DUMB) {
        Plim = vbus_meas * (DUMB_CHG_CURR_LIM_MA/1000.0);
        update_vbus_leds(vbus_meas);
      }

      adc_sample_sums[0] = 0;
      adc_sample_sums[1] = 0;
      adc_sample_count = 0;
    }
    HAL_ADC_Start_DMA(&hadc1, adc_samples, 2); //Trigger ADC DMA
  }else if(htim->Instance == TIM1){
    micros_count_by_32++;
  }
}

// Hiccup control
void HAL_GPIO_EXTI_Callback(uint16_t GPIO_Pin){
  int rail_id = RAIL_NONE;
  if(GPIO_Pin == ina_5V.int_pin && ina_alerts_enabled){
    rail_id = RAIL_5V;
  }else if(GPIO_Pin == ina_pos_12V.int_pin && ina_alerts_enabled){
    rail_id = RAIL_P12V;
  }else if(GPIO_Pin == ina_neg_12V.int_pin && ina_alerts_enabled){
    rail_id = RAIL_N12V;
  }else if (GPIO_Pin == ALERT_A_Pin) {
    ALARM_MANAGEMENT(0);
  }
  hiccup_rail(rail_id); // if rail_id remains RAIL_NONE, no action is taken
}

void _putchar(char character){
  if(debug_mode == DEBUG_NORMAL){
    HAL_UART_Transmit(&huart1, (uint8_t*)&character, 1, 1);
  }
}

/**
 * Restarts DMA-based UART reception
*/
void restart_UART_rx(){
  rx_size = 0;
  HAL_UART_Receive_DMA(&huart1, rx_buf, UART_HDDR_SIZE);
}

/**
 * Returns true if char c is in buffer
*/
bool char_in_buffer(uint8_t* buffer, char c, int size){
  for(int i = 0; i < size; i++){
    if (buffer[i] == c){
      return true;
    }
  }
  return false;
}

/**
 * strip whitespace from str storing result in loc
 * loc must have at least as much space as str
*/
void strstrip(char* str, char* loc){
  int i = 0;
  while(str[i] == ' ' || str[i] == '\n' || str[i] == '\r' || str[i] == '\t'){
    i++;
  }
  strcpy(loc, str + i); // copy over everything except leading whitespace

  i = strlen(loc) - 1; // get index of last character
  while(i >= 0 && (loc[i] == ' ' || loc[i] == '\n' || loc[i] == '\r' || loc[i] == '\t')){
    loc[i] = '\0'; // set this whitespace to null termination
    i--;
  }
}

/**
 * @brief initializes the global register map
 */
void init_regmap(void) {
  regmap[REG_DEBUG_MODE] = (regmap_t)(&debug_mode);
  regmap[REG_PLIM] = (regmap_t)(&Plim);
  regmap[REG_PLIM_GUARDBAND] = (regmap_t)(&Plim_guardband);
  regmap[REG_PLIM_WARN] = (regmap_t)(&Plim_warn);
  regmap[REG_ILIM_5V] = (regmap_t)(&ILIM_5V);
  regmap[REG_ILIM_N12V] = (regmap_t)(&ILIM_N12V);
  regmap[REG_ILIM_12V] = (regmap_t)(&ILIM_12V);
  regmap[REG_NEGO_VBUS] = (regmap_t)(&nego_vbus);
  regmap[REG_VBUS_ILIM] = (regmap_t)(&vbus_ilim);
  regmap[REG_VOLTS_5V] = (regmap_t)(&volts_5v);
  regmap[REG_VOLTS_N12V] = (regmap_t)(&volts_n12v);
  regmap[REG_VOLTS_12V] = (regmap_t)(&volts_p12v);
  regmap[REG_VOLTS_VBUS] = (regmap_t)(&vbus_meas);
  regmap[REG_CURR_5V] = (regmap_t)(&amps_out_5v);
  regmap[REG_CURR_N12V] = (regmap_t)(&amps_out_n12v);
  regmap[REG_CURR_12V] = (regmap_t)(&amps_out_p12v);
  regmap[REG_CURR_VBUS] = (regmap_t)(&amps_in_vbus);
  regmap[REG_POWER_VBUS] = (regmap_t)(&pwr_vbus);
  regmap[REG_BUCK_BST_5VIN_C0] = (regmap_t)(eff_coefs_buck_boost_5vin);
  regmap[REG_BUCK_BST_5VIN_C1] = (regmap_t)(eff_coefs_buck_boost_5vin + 1);
  regmap[REG_BUCK_BST_9VIN_C0] = (regmap_t)(eff_coefs_buck_boost_9vin);
  regmap[REG_BUCK_BST_9VIN_C1] = (regmap_t)(eff_coefs_buck_boost_9vin + 1);
  regmap[REG_BUCK_BST_15VIN_C0] = (regmap_t)(eff_coefs_buck_boost_15vin);
  regmap[REG_BUCK_BST_15VIN_C1] = (regmap_t)(eff_coefs_buck_boost_15vin + 1);
  regmap[REG_BUCK_BST_20VIN_C0] = (regmap_t)(eff_coefs_buck_boost_20vin);
  regmap[REG_BUCK_BST_20VIN_C1] = (regmap_t)(eff_coefs_buck_boost_20vin + 1);
  regmap[REG_5V_CONV_C0] = (regmap_t)(eff_coefs_5v_conv);
  regmap[REG_5V_CONV_C1] = (regmap_t)(eff_coefs_5v_conv + 1);
  regmap[REG_IBB_5VIN_C0] = (regmap_t)(eff_coefs_ibb_5vin);
  regmap[REG_IBB_5VIN_C1] = (regmap_t)(eff_coefs_ibb_5vin + 1);
  regmap[REG_IBB_9VIN_C0] = (regmap_t)(eff_coefs_ibb_9vin);
  regmap[REG_IBB_9VIN_C1] = (regmap_t)(eff_coefs_ibb_9vin + 1);
  regmap[REG_IBB_15VIN_C0] = (regmap_t)(eff_coefs_ibb_15vin);
  regmap[REG_IBB_15VIN_C1] = (regmap_t)(eff_coefs_ibb_15vin + 1);
  regmap[REG_IBB_20VIN_C0] = (regmap_t)(eff_coefs_ibb_20vin);
  regmap[REG_IBB_20VIN_C1] = (regmap_t)(eff_coefs_ibb_20vin + 1);
  regmap[REG_DISP_PRESENT] = (regmap_t)(&disp_present);

  writeable[REG_DEBUG_MODE] = true;
  writeable[REG_PLIM] = true;
  writeable[REG_PLIM_GUARDBAND] = true;
  writeable[REG_PLIM_WARN] = true;
  writeable[REG_ILIM_5V] = true;
  writeable[REG_ILIM_N12V] = true;
  writeable[REG_ILIM_12V] = true;
  writeable[REG_NEGO_VBUS] = true;
  writeable[REG_VBUS_ILIM] = true;

  writeable[REG_BUCK_BST_5VIN_C0] = true;
  writeable[REG_BUCK_BST_5VIN_C1] = true;
  writeable[REG_BUCK_BST_9VIN_C0] = true;
  writeable[REG_BUCK_BST_9VIN_C1] = true;
  writeable[REG_BUCK_BST_15VIN_C0] = true;
  writeable[REG_BUCK_BST_15VIN_C1] = true;
  writeable[REG_BUCK_BST_20VIN_C0] = true;
  writeable[REG_BUCK_BST_20VIN_C1] = true;
  writeable[REG_5V_CONV_C0] = true;
  writeable[REG_5V_CONV_C1] = true;
  writeable[REG_IBB_5VIN_C0] = true;
  writeable[REG_IBB_5VIN_C1] = true;
  writeable[REG_IBB_9VIN_C0] = true;
  writeable[REG_IBB_9VIN_C1] = true;
  writeable[REG_IBB_15VIN_C0] = true;
  writeable[REG_IBB_15VIN_C1] = true;
  writeable[REG_IBB_20VIN_C0] = true;
  writeable[REG_IBB_20VIN_C1] = true;
}

void read_eff_coefs_from_flash(void) {
  uint32_t flash_flag = 0;
  ee_read(0, 4, (uint8_t*)&flash_flag);
  if (flash_flag == 0xA5A5A5A5) {
    uint32_t ee_addr = 4;
    for (int regind = REG_BUCK_BST_5VIN_C0; regind <= REG_IBB_20VIN_C1; regind++) {
      ee_read(ee_addr, REG_MAP_DATA_SIZE, (uint8_t*)(regmap[regind]));
      ee_addr += 4;
    }
  }
}

void save_eff_coefs_to_flash(void) {
  uint32_t flash_flag = 0xA5A5A5A5;
  uint32_t ee_addr = 0;
  ee_write(ee_addr, 4, (uint8_t*)(&flash_flag));
  for (int regind = REG_BUCK_BST_5VIN_C0; regind <= REG_IBB_20VIN_C1; regind++) {
    ee_write(ee_addr, REG_MAP_DATA_SIZE, (uint8_t*)(regmap[regind]));
    ee_addr += 4;
  }
}

/**
 * Parses the string in rx_buf and does things based on that.
*/
void process_dev_packet(){
  if(memcmp(rx_buf, "PRINT_SRC_PDOS", rx_size) == 0){
    // printf the source PDOs
    debug_mode = DEBUG_NORMAL;
    Print_PDO_FROM_SRC(0); // usb port ID is always going to be 0 for our design
    debug_mode = DEBUG_DEVELOPER;
  }else{
    if(char_in_buffer(rx_buf, '=', rx_size)){
      // something is being set
      char* word = (char*)malloc(rx_size);
      char* token = strtok((char*)rx_buf, "=");
      while(token != NULL){
        strstrip(token, word); // word now holds the CMD/KEY

        token = strtok(NULL, "\0"); // get the VALUE

        if (strcmp(word, "REQ_VOLTAGE") == 0){
          strstrip(token, word);
          req_voltage = atof(word);
          req_number = 0;
        }else if(strcmp(word, "REQ_CURRENT") == 0){
          strstrip(token, word);
          req_current = atof(word);
          req_number = 0;
        }else if(strcmp(word, "REQ_NUMBER") == 0){
          strstrip(token, word);
          req_number = atoi(word);
        }
      }
      free(word);
    }else if(memcmp(rx_buf, "NEGO_NEW_PDO", rx_size) == 0){
      debug_mode = DEBUG_NORMAL;
      if (req_number <= 0){
        printf("Negotiating PDO of %.1fV @ %.2fA...", req_voltage, req_current);
        int PDO_V = (int)(req_voltage*1000.0 + 0.5);
        int PDO_I = (int)(req_current*1000.0 + 0.5);
        Update_PDO(0, 2, PDO_V, PDO_I);
        Update_Valid_PDO_Number(0, 2);
      }else{
        printf("Negotiating PDO #%d...", req_number);
        Request_SRC_PDO_NUMBER(0, req_number);
      }
      Send_Soft_reset_Message(0); // forces re-negotiation
      HAL_Delay(200);
      connection_flag[0] = 1;
      Read_RDO(0);
      Print_RDO(0);
      check_on_pdo_voltage(0);
      debug_mode = DEBUG_DEVELOPER;
    }
  }
}

/**
 * Checks what voltage has been negotiated and lights LEDs accordingly.
 * Also pulses disable if voltage is around 15V.
*/
void check_on_pdo_voltage(int usb_port){
  float nego_voltage = (float)PDO_FROM_SRC[usb_port][Nego_RDO[usb_port].b.Object_Pos - 1].fix.Voltage/20.0;
  if (nego_voltage >= 12.0 && nego_voltage <= 16.0){
    printf("Negotiated voltage is %.2fV - Pulsing main converter off.", nego_voltage);
    DISABLE_PRIMARY_12V();
    for(int i=0; i<25; i++)
    {
      __NOP();
    }
    ENABLE_PRIMARY_12V();
  }
  update_vbus_leds(nego_voltage);
}

/**
 * Light the correct VBUS indicator LED depending on the vbus argument
*/
void update_vbus_leds(float vbus){

  HAL_GPIO_WritePin(PD5V_GPIO_Port, PD5V_Pin, 0);
  HAL_GPIO_WritePin(PD9V_GPIO_Port, PD9V_Pin, 0);
  HAL_GPIO_WritePin(PD15V_GPIO_Port, PD15V_Pin, 0);
  HAL_GPIO_WritePin(PD20V_GPIO_Port, PD20V_Pin, 0);

  if(WITHIN_RANGE(vbus, 5.0, 1.0))
  {
    HAL_GPIO_WritePin(PD5V_GPIO_Port, PD5V_Pin, 1);
  }
  else if(WITHIN_RANGE(vbus, 9.0, 3.0))
  {
    HAL_GPIO_WritePin(PD9V_GPIO_Port, PD9V_Pin, 1);
  }
  else if (WITHIN_RANGE(vbus, 15.0, 3.0))
  {
    HAL_GPIO_WritePin(PD15V_GPIO_Port, PD15V_Pin, 1);
  }
  else if (WITHIN_RANGE(vbus, 20.0, 2.0))
  {
    HAL_GPIO_WritePin(PD20V_GPIO_Port, PD20V_Pin, 1);
  }
}

/**
 * Delay some number of microseconds
*/
void delay_us(uint32_t delay){
  uint32_t start_us = micros();
  uint32_t tstamp = start_us;
  while (tstamp - start_us < delay){
    tstamp = micros();
    if (tstamp < start_us){
      uint32_t elapsed = 0xFFFFFFFF - start_us; // how many us passed before wrap around
      start_us = 0;
      delay -= elapsed;
    }
  }
}

/**
 * If on_or_off != 0, turn on the outputs in sequence.
 * else, turn off all 3 outputs at once
*/
void set_output_state(uint8_t on_or_off){
  if(on_or_off){
    // sequence the turn on of the rails
    ENABLE_PRIMARY_12V();
    ENABLE_N12_SUPPLY();
    int timeout = 0;
    GPIO_PinState pgood = HAL_GPIO_ReadPin(PGOOD_12V_GPIO_Port, PGOOD_12V_Pin);
    while (pgood == GPIO_PIN_RESET && timeout < ENABLE_12V_TIMEOUT_US) {
      delay_us(10);
      timeout += 10;
      pgood = HAL_GPIO_ReadPin(PGOOD_12V_GPIO_Port, PGOOD_12V_Pin);
    }
    ENABLE_5P0_SUPPLY();
  }else{
    DISABLE_N12_SUPPLY();
    DISABLE_5PO_SUPPLY();
    DISABLE_PRIMARY_12V();
  }
}

/**
 * Get a count of microseconds since program start. Will wrap around after some time.
*/
uint32_t micros(){
  uint32_t subdiv = (htim1.Instance->CNT << 5) / htim1.Instance->CNT;
  uint32_t new_micros = (micros_count_by_32 << 5) + subdiv;
  if (new_micros < micros_count){
    // micros_count_by_32 << 5 has wrapped around
    micros_count_by_32 = micros_count_by_32 - 0x07FFFFFF;
    new_micros = (micros_count_by_32 << 5) + subdiv;
  }
  return new_micros;
}

/**
 * @brief compute a polynomial from the given coefficients and x input.
 *
 * @return y value of the polynomial
 */
float compute_polynom(float* coefs, int coef_count, float x) {
  float retval = 0.0;
  for (int coef_order = 0; coef_order < coef_count; coef_order++) {
    retval += coefs[coef_order] * powf(x, 1.0*coef_order);
  }
  return retval;
}

void enter_sleep_mode(void) {
  HAL_SuspendTick();
  HAL_PWR_EnterSLEEPMode(PWR_MAINREGULATOR_ON,PWR_SLEEPENTRY_WFE);
  HAL_ResumeTick();
}

/**
 * Put the specified rail into hiccup and set all the necessary globals for
 * recovering.
 */
void hiccup_rail(int rail_id) {
  switch(rail_id) {
    case RAIL_P12V:{
      DISABLE_PRIMARY_12V();
      Hiccup_p12v_flag = 1;
      hiccup_p12v_ts = HAL_GetTick();
      break;
    }
    case RAIL_N12V:{
      DISABLE_N12_SUPPLY();
      Hiccup_n12v_flag = 1;
      hiccup_n12v_ts = HAL_GetTick();
      break;
    }
    case RAIL_5V:{
      DISABLE_5PO_SUPPLY();
      Hiccup_5v_flag = 1;
      hiccup_5v_ts = HAL_GetTick();
      break;
    }
    default:
      return;
  }
}

/**
 * Callback for UART DMA reception
*/
void HAL_UART_RxCpltCallback(UART_HandleTypeDef *huart){
  if (uart_state == UART_STATE_RX_HDDR) {
    if (rx_buf[0] >= CMD_COUNT) {
      /* well this isn't right... */
      HAL_UART_Receive_DMA(&huart1, rx_buf, UART_HDDR_SIZE);
      return;
    }
    // index 1 is not used currently
    uint16_t body_len = rx_buf[2] | (rx_buf[3] << 8);
    if (body_len > 0) {
      if (body_len + UART_HDDR_SIZE > UART_RX_BUF_SIZE) {
        body_len = UART_RX_BUF_SIZE - UART_HDDR_SIZE;
      }
      uart_state = UART_STATE_RX_BODY;
      HAL_UART_Receive_DMA(&huart1, rx_buf + UART_HDDR_SIZE, body_len);
    } else {
      uart_state = UART_STATE_TX_PACKET; /* signals to the main loop that it should prepare & transmit a response packet */
    }
  }
  else if (uart_state == UART_STATE_RX_BODY) {
    uart_state = UART_STATE_TX_PACKET; /* signals to the main loop that it should prepare & transmit a response packet */
  }
  else {
    /* something's wrong, just restart the reception */
    uart_state = UART_STATE_RX_HDDR;
    HAL_UART_Receive_DMA(&huart1, rx_buf, UART_HDDR_SIZE);
  }

}

/**
 * Handle hardware I2C comms
*/
uint8_t u8x8_byte_hw_i2c(u8x8_t *u8x8, uint8_t msg, uint8_t arg_int, void *arg_ptr){
  uint8_t *data;
  static uint8_t buffer[128];
  static uint8_t buf_ind;
  switch(msg)
  {
    case U8X8_MSG_BYTE_SEND:
      data = (uint8_t *)arg_ptr;
      while(arg_int > 0){
        buffer[buf_ind++] = *data;
        data++;
        arg_int--;
      }
      break;

    case U8X8_MSG_BYTE_INIT:
      // i2c_init(u8x8);
      break;
    case U8X8_MSG_BYTE_SET_DC:
      break;
    case U8X8_MSG_BYTE_START_TRANSFER:
      // i2c_start(u8x8);
      // i2c_write_byte(u8x8, u8x8_GetI2CAddress(u8x8));
      //i2c_write_byte(u8x8, 0x078);
      break;
    case U8X8_MSG_BYTE_END_TRANSFER:
      // i2c_stop(u8x8);
      if (disp_present != 0) {
        HAL_StatusTypeDef i2c_stat = HAL_I2C_Master_Transmit(&hi2c2, u8x8_GetI2CAddress(u8x8), buffer, buf_ind, 100);
        disp_present = (uint32_t)(i2c_stat == HAL_OK);
      }
      buf_ind = 0;
      break;
    default:
      return 0;
  }
  return 1;
}

uint8_t gpio_and_delay_callback(u8x8_t *u8x8, uint8_t msg, uint8_t arg_int, void *arg_ptr){
  switch(msg)
  {
    case U8X8_MSG_GPIO_AND_DELAY_INIT:	// called once during init phase of u8g2/u8x8
      break;							// can be used to setup pins
    case U8X8_MSG_DELAY_NANO:			// delay arg_int * 1 nano second
      break;
    case U8X8_MSG_DELAY_100NANO:		// delay arg_int * 100 nano seconds
        for(int i = 0; i < arg_int*7; i++){
          __NOP();
        }
      break;
    case U8X8_MSG_DELAY_10MICRO:		// delay arg_int * 10 micro seconds
        for(int i = 0; i < arg_int*200; i++){
          __NOP();
        }
      break;
    case U8X8_MSG_DELAY_MILLI:			// delay arg_int * 1 milli second
      HAL_Delay(arg_int);
      break;
    case U8X8_MSG_DELAY_I2C:				// arg_int is the I2C speed in 100KHz, e.g. 4 = 400 KHz
      if (arg_int == 1){
        // this should be ~very roughly 5us
        for(int i = 0; i < 100; i++){
          __NOP();
        }
      }else{
        // this should be ~very roughly 1.25us
        for(int i = 0; i < 25; i++){
          __NOP();
        }
      }
      break;							// arg_int=1: delay by 5us, arg_int = 4: delay by 1.25us
    case U8X8_MSG_GPIO_D0:				// D0 or SPI clock pin: Output level in arg_int
    //case U8X8_MSG_GPIO_SPI_CLOCK:
      break;
    case U8X8_MSG_GPIO_D1:				// D1 or SPI data pin: Output level in arg_int
    //case U8X8_MSG_GPIO_SPI_DATA:
      break;
    case U8X8_MSG_GPIO_D2:				// D2 pin: Output level in arg_int
      break;
    case U8X8_MSG_GPIO_D3:				// D3 pin: Output level in arg_int
      break;
    case U8X8_MSG_GPIO_D4:				// D4 pin: Output level in arg_int
      break;
    case U8X8_MSG_GPIO_D5:				// D5 pin: Output level in arg_int
      break;
    case U8X8_MSG_GPIO_D6:				// D6 pin: Output level in arg_int
      break;
    case U8X8_MSG_GPIO_D7:				// D7 pin: Output level in arg_int
      break;
    case U8X8_MSG_GPIO_E:				// E/WR pin: Output level in arg_int
      break;
    case U8X8_MSG_GPIO_CS:				// CS (chip select) pin: Output level in arg_int
      break;
    case U8X8_MSG_GPIO_DC:				// DC (data/cmd, A0, register select) pin: Output level in arg_int
      break;
    case U8X8_MSG_GPIO_RESET:			// Reset pin: Output level in arg_int
      break;
    case U8X8_MSG_GPIO_CS1:				// CS1 (chip select) pin: Output level in arg_int
      break;
    case U8X8_MSG_GPIO_CS2:				// CS2 (chip select) pin: Output level in arg_int
      break;
    case U8X8_MSG_GPIO_I2C_CLOCK:		// arg_int=0: Output low at I2C clock pin
      break;							// arg_int=1: Input dir with pullup high for I2C clock pin
    case U8X8_MSG_GPIO_I2C_DATA:			// arg_int=0: Output low at I2C data pin
      break;							// arg_int=1: Input dir with pullup high for I2C data pin
    case U8X8_MSG_GPIO_MENU_SELECT:
      // u8x8_SetGPIOResult(u8x8, /* get menu select pin state */ 0);
      break;
    case U8X8_MSG_GPIO_MENU_NEXT:
      // u8x8_SetGPIOResult(u8x8, /* get menu next pin state */ 0);
      break;
    case U8X8_MSG_GPIO_MENU_PREV:
      // u8x8_SetGPIOResult(u8x8, /* get menu prev pin state */ 0);
      break;
    case U8X8_MSG_GPIO_MENU_HOME:
      // u8x8_SetGPIOResult(u8x8, /* get menu home pin state */ 0);
      break;
    default:
      // u8x8_SetGPIOResult(u8x8, 1);			// default return value
      break;
  }
  return 1;
}

void disable_ina_ints(){
  ina_alerts_enabled = 0;
}

void enable_ina_ints(){
  ina_alerts_enabled = 1;
}

/* USER CODE END 4 */

void Error_Handler(void)
{
  __disable_irq();
  while (1)
  {
  }
}
